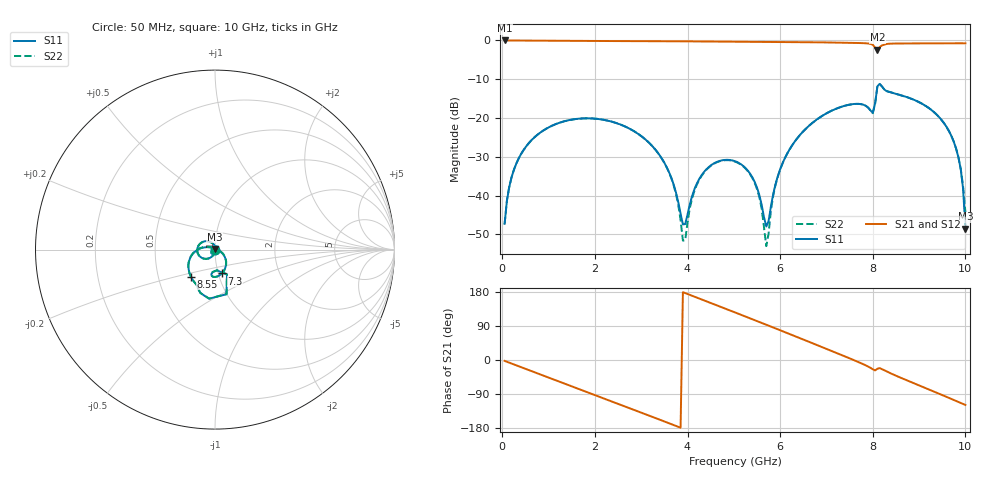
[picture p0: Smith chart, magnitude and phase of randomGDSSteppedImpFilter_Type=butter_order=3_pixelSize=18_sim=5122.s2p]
! freq	dB(S11)	phase(S11)	dB(S12)	phase(S12)
!  dB(S21)	phase(S21)	dB(S22)	phase(S22)
!S-par simulation data
#  GHz  S  DB  R 50
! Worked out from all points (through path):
!   200 points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, 50 MHz to 10 GHz, reference 50 ohm
!   highest |S21| = 0.00 dB at 50 MHz (marker M1); lowest = -2.4 dB at 8.1 GHz (marker M2)
!   group delay of S21, straight-line fit = 133 ps
!   lowest |S11| = -48.5 dB at 10 GHz (marker M3), VSWR 1.01, Z = 49.9 + j0.363 ohm
!   |S11| at or under -10 dB: start of sweep to end of sweep
!   |S22| runs from -53.0 to -11.2 dB; largest |S21 - S12| = 0
!   S11 on the Smith chart (normalised r, x): 50 MHz: 1.00, -0.01; 7.3 GHz: 1.04, -0.28; 8.55 GHz: 0.73, -0.23; 10 GHz: 1.00, +0.01
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0.05  -47.27 -91.7  -0.00 -2.4  -0.00 -2.4  -47.27 -91.7
0.2  -35.27 -99.3  -0.02 -9.3  -0.02 -9.3  -35.27 -99.3
0.5  -27.55 -113.6  -0.03 -23.3  -0.03 -23.3  -27.55 -113.6
1.75  -20.09 -172.5  -0.13 -80.8  -0.13 -80.8  -20.09 -172.2
2.55  -21.66 149.8  -0.16 -117.8  -0.16 -117.8  -21.66 150.5
3.4  -29.62 106.0  -0.19 -157.5  -0.19 -157.5  -29.65 108.7
3.7  -37.11 82.3  -0.21 -171.6  -0.21 -171.6  -37.33 89.4
3.9  -47.40 18.2  -0.23 179.0  -0.23 179.0  -51.60 31.6
4.3  -34.79 -96.9  -0.26 160.0  -0.26 160.0  -34.97 -103.3
5.05  -31.24 -136.6  -0.32 124.4  -0.32 124.4  -31.33 -141.4
5.5  -37.93 -148.9  -0.35 102.8  -0.35 102.8  -38.30 -159.2
5.7  -47.94 -93.2  -0.36 93.1  -0.36 93.1  -53.02 -96.8
6  -33.19 -19.0  -0.38 78.5  -0.38 78.5  -33.27 -13.6
6.7  -21.20 -45.7  -0.46 44.2  -0.46 44.2  -21.21 -44.8
7.3  -17.18 -74.0  -0.57 14.4  -0.57 14.4  -17.19 -73.7
8  -18.67 -84.1  -1.13 -24.4  -1.13 -24.4  -18.76 -84.5
8.1  -11.80 -75.6  -2.41 -23.1  -2.41 -23.1  -11.85 -75.4
8.35  -13.23 -120.1  -0.85 -33.1  -0.85 -33.1  -13.24 -120.2
8.55  -13.91 -131.7  -0.79 -44.1  -0.79 -44.1  -13.91 -132.0
9.65  -23.47 170.6  -0.72 -100.3  -0.72 -100.3  -23.47 168.4
9.9  -33.26 152.3  -0.73 -113.3  -0.73 -113.3  -33.10 145.1
10  -48.52 104.2  -0.74 -118.6  -0.74 -118.6  -44.24 86.2
